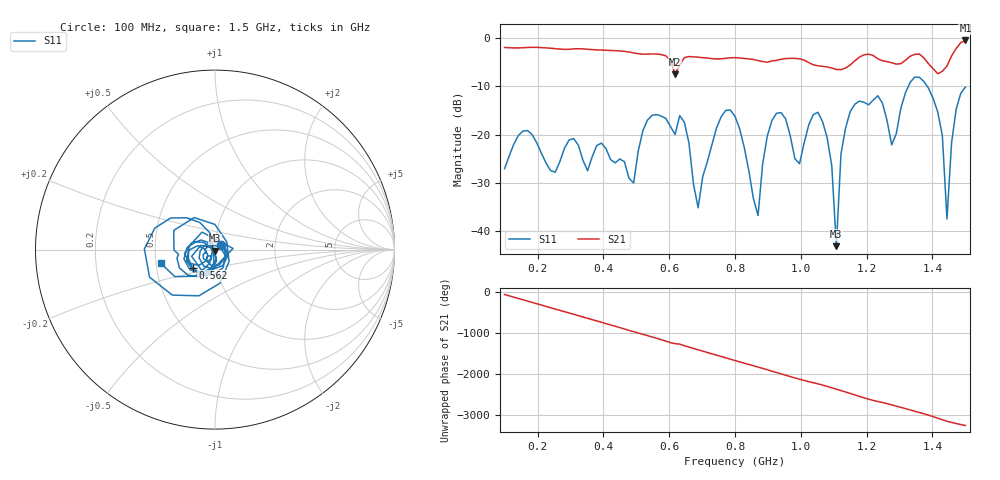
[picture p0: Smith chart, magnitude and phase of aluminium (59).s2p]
! NanoVNA-App
! Date: 2025-09-25 14:55:44
! Start: 100MHz Stop: 1,5GHz Points: 101
! S-Parameter data: F S11 S21 S12 S22
# Hz S RI R 50
!  Frequency  S11_Real  S11_Imag  S21_Real  S21_Imag  S12_Real  S12_Imag  S22_Real  S22_Imag
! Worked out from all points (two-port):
!   101 points, 100 MHz to 1.5 GHz, reference 50 ohm
!   highest |S21| = -0.48 dB at 1.5 GHz (marker M1); lowest = -7.4 dB at 618 MHz (marker M2)
!   |S21| within 3 dB of the highest: start of sweep to 580.6 MHz; 1.46 GHz to end of sweep (the widest 2 of 4)
!   lowest |S11| = -43.0 dB at 1.108 GHz (marker M3), VSWR 1.01, Z = 49.7 - j0.657 ohm
!   |S11| at or under -10 dB: start of sweep to 1.327 GHz; 1.384 GHz to end of sweep
!   S12 and S22 are empty: the file has one direction only
!   S11 on the Smith chart (normalised r, x): 100 MHz: 1.07, +0.06; 562 MHz: 0.76, -0.16; 1.5 GHz: 0.53, -0.09
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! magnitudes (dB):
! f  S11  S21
! 100 MHz  -27.0  -1.9
! 338 MHz  -25.2  -2.2
! 492 MHz  -30.0  -3.1
! 562 MHz  -15.8  -3.3
! 576 MHz  -16.1  -3.4
! 618 MHz  -19.9  -7.4
! 688 MHz  -35.1  -3.9
! 800 MHz  -16.2  -4.0
! 870 MHz  -36.7  -4.6
! 912 MHz  -17.0  -4.7
! 996 MHz  -26.0  -4.3
! 1.038 GHz  -15.8  -5.5
! 1.08 GHz  -20.6  -6.0
! 1.108 GHz  -43.0  -6.5
! 1.122 GHz  -24.0  -6.5
! 1.15 GHz  -15.2  -5.5
! 1.276 GHz  -22.1  -5.1
! 1.374 GHz  -9.0  -4.1
! 1.43 GHz  -20.2  -6.9
! 1.444 GHz  -37.4  -5.8
! 1.472 GHz  -14.7  -2.1
! 1.5 GHz  -10.1  -0.5
